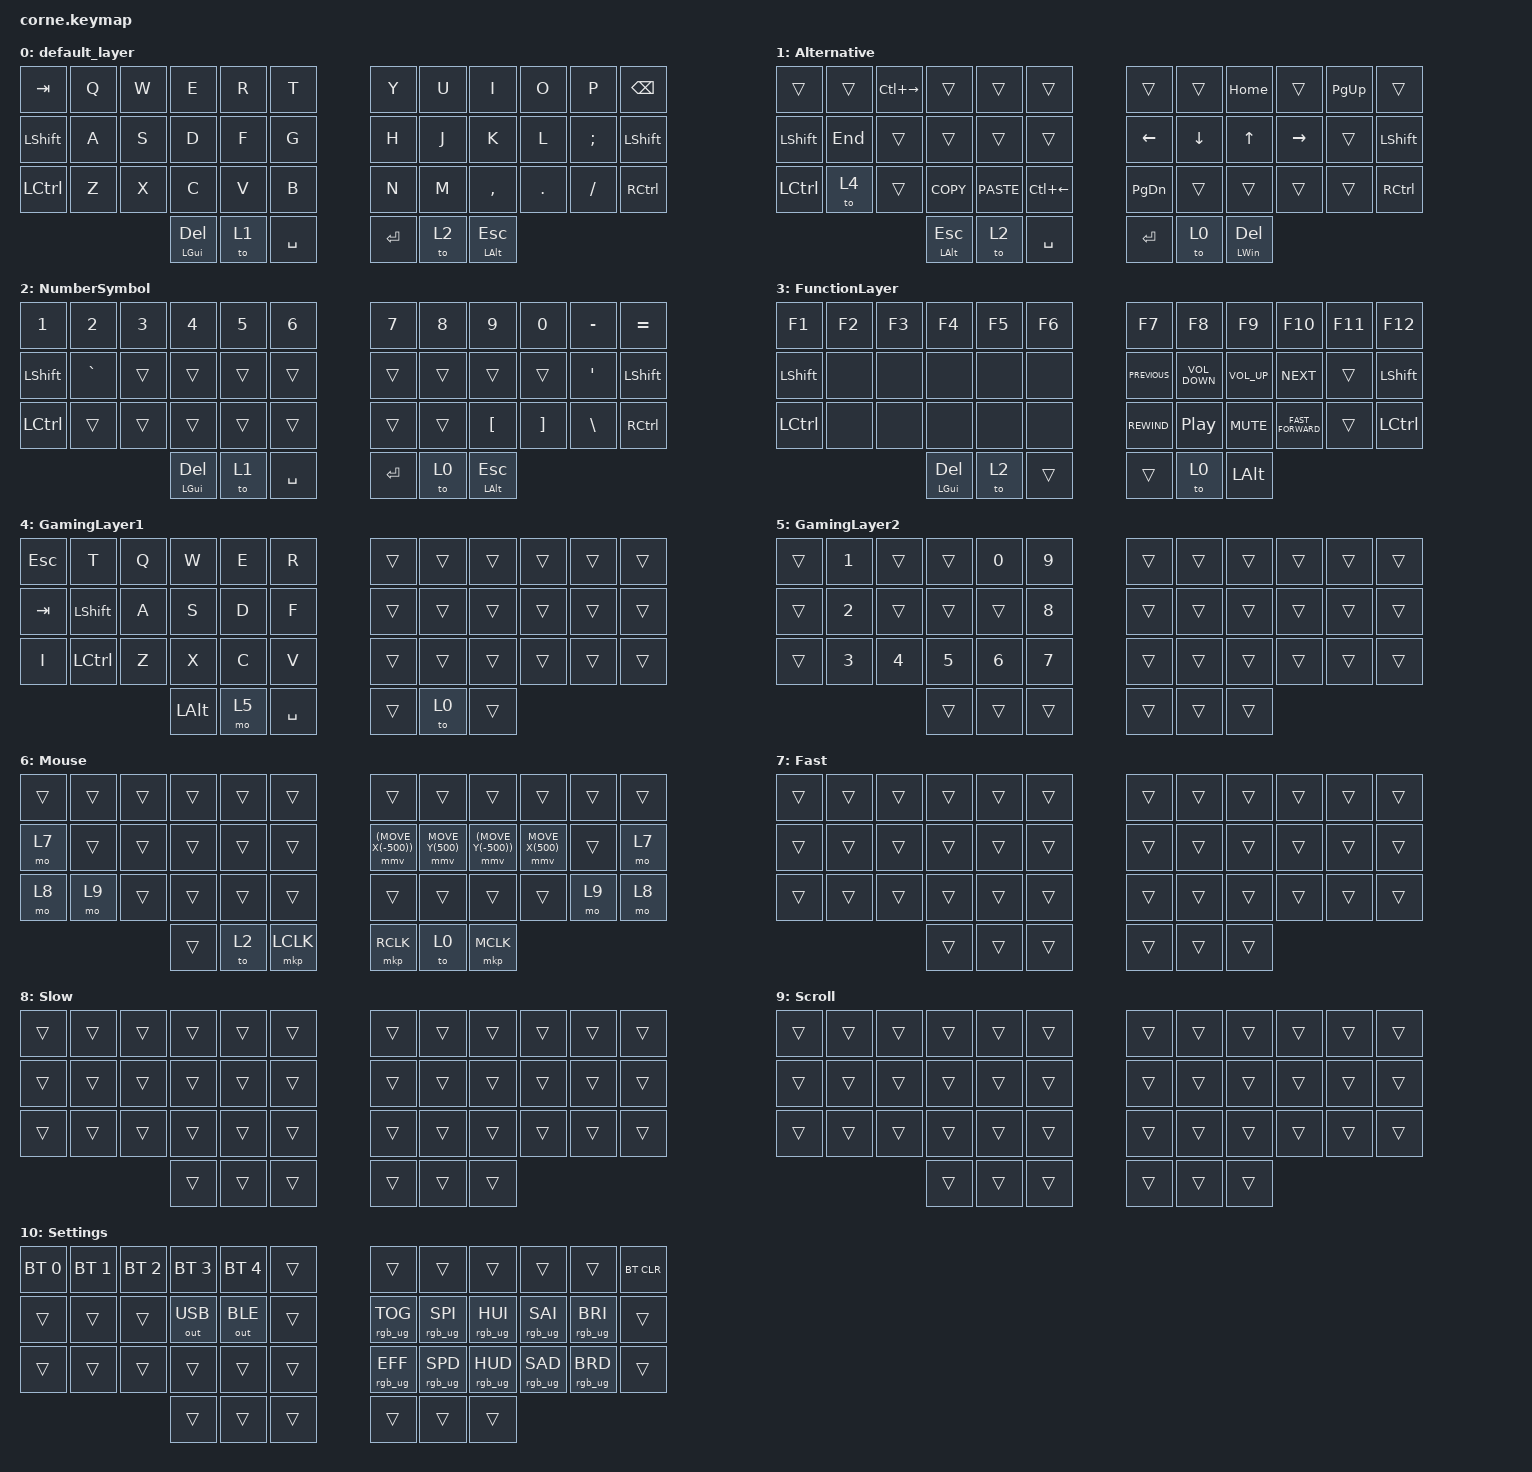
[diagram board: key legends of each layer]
/*
 * Copyright (c) 2020 The ZMK Contributors
 *
 * SPDX-License-Identifier: MIT
 */
// for mouse 

#include <behaviors/mouse_keys.dtsi>
#include <dt-bindings/zmk/mouse.h>
#include "mouse.dtsi"

// for input scalar

#include <input/processors.dtsi>
#include <zephyr/dt-bindings/input/input-event-codes.h>
#include <dt-bindings/zmk/input_transform.h>
#include <behaviors.dtsi>
#include <dt-bindings/zmk/bt.h>
#include <dt-bindings/zmk/keys.h>
#include <dt-bindings/zmk/outputs.h>
#include <dt-bindings/zmk/pointing.h>
#include <dt-bindings/zmk/rgb.h>

#define NONE 0

&led_strip { chain-length = <27>; };

&mmv_input_listener {
    fast {
        layers = <7>;
        input-processors = <&zip_xy_scaler 2 1>;
    };

    slow {
        layers = <8>;
        input-processors = <&zip_xy_scaler 1 2>;
    };

    scrollerInvert {
        layers = <9>;
        input-processors = <&zip_xy_transform INPUT_TRANSFORM_Y_INVERT>;
        process-next;
    };

    scroller {
        layers = <9>;
        input-processors = <&zip_xy_to_scroll_mapper>;
    };
};

/ {
    combos {
        compatible = "zmk,combos";

        toFunkKeys {
            bindings = <&to 3>;
            key-positions = <37 40>;
        };

        ToLayer2 {
            bindings = <&to 2>;
            key-positions = <37 12>;
            layers = <0>;
        };

        ToLayer0 {
            bindings = <&to 0>;
            key-positions = <37 12>;
            layers = <1 2>;
        };

        toMouse {
            bindings = <&to 6>;
            key-positions = <39 38>;
        };

        caps {
            bindings = <&caps_word>;
            key-positions = <12 23>;
        };

        ToSettings {
            bindings = <&to 10>;
            key-positions = <36 41>;
        };
    };

    keymap {
        compatible = "zmk,keymap";

        default_layer {
            bindings = <
&kp TAB     &kp Q  &kp W  &kp E            &kp R  &kp T        &kp Y    &kp U  &kp I             &kp O    &kp P          &kp BSPC
&kp LSHIFT  &kp A  &kp S  &kp D            &kp F  &kp G        &kp H    &kp J  &kp K             &kp L    &kp SEMICOLON  &kp LSHIFT
&kp LCTRL   &kp Z  &kp X  &kp C            &kp V  &kp B        &kp N    &kp M  &kp COMMA         &kp DOT  &kp SLASH      &kp RCTRL
                          &mt LGUI DELETE  &to 1  &kp SPACE    &kp RET  &to 2  &mt LEFT_ALT ESC
            >;
        };

        Alternative {
            bindings = <
&trans      &trans   &kp LC(RIGHT)  &trans               &trans       &trans                &trans         &trans    &kp HOME             &trans     &kp PAGE_UP  &trans
&kp LSHIFT  &kp END  &trans         &trans               &trans       &trans                &kp LEFT       &kp DOWN  &kp UP               &kp RIGHT  &trans       &kp LEFT_SHIFT
&kp LCTRL   &to 4    &trans         &kp K_COPY           &kp K_PASTE  &kp LC(LEFT_ARROW)    &kp PAGE_DOWN  &trans    &trans               &trans     &trans       &kp RCTRL
                                    &mt LEFT_ALT ESCAPE  &to 2        &kp SPACE             &kp RET        &to 0     &mt LEFT_WIN DELETE
            >;
        };

        NumberSymbol {
            bindings = <
&kp NUMBER_1  &kp NUMBER_2  &kp N3  &kp N4           &kp N5  &kp N6       &kp N7   &kp N8  &kp N9            &kp N0    &kp MINUS  &kp EQUAL
&kp LSHIFT    &kp GRAVE     &trans  &trans           &trans  &trans       &trans   &trans  &trans            &trans    &kp APOS   &kp LEFT_SHIFT
&kp LCTRL     &trans        &trans  &trans           &trans  &trans       &trans   &trans  &kp LBKT          &kp RBKT  &kp BSLH   &kp RCTRL
                                    &mt LGUI DELETE  &to 1   &kp SPACE    &kp RET  &to 0   &mt LEFT_ALT ESC
            >;
        };

        FunctionLayer {
            bindings = <
&kp F1      &kp F2  &kp F3  &kp F4           &kp F5  &kp F6    &kp F7          &kp F8             &kp F9        &kp F10             &kp F11  &kp F12
&kp LSHIFT  &none   &none   &none            &none   &none     &kp C_PREVIOUS  &kp C_VOLUME_DOWN  &kp C_VOL_UP  &kp C_NEXT          &trans   &kp LEFT_SHIFT
&kp LCTRL   &none   &none   &none            &none   &none     &kp C_REWIND    &kp C_PLAY_PAUSE   &kp K_MUTE    &kp C_FAST_FORWARD  &trans   &kp LCTRL
                            &mt LGUI DELETE  &to 2   &trans    &trans          &to 0              &kp LALT
            >;
        };

        GamingLayer1 {
            bindings = <
&kp ESC  &kp T      &kp Q  &kp W         &kp E  &kp R        &trans  &trans  &trans  &trans  &trans  &trans
&kp TAB  &kp LSHFT  &kp A  &kp S         &kp D  &kp F        &trans  &trans  &trans  &trans  &trans  &trans
&kp I    &kp LCTRL  &kp Z  &kp X         &kp C  &kp V        &trans  &trans  &trans  &trans  &trans  &trans
                           &kp LEFT_ALT  &mo 5  &kp SPACE    &trans  &to 0   &trans
            >;
        };

        GamingLayer2 {
            bindings = <
&trans  &kp N1  &trans  &trans  &kp N0  &kp N9    &trans  &trans  &trans  &trans  &trans  &trans
&trans  &kp N2  &trans  &trans  &trans  &kp N8    &trans  &trans  &trans  &trans  &trans  &trans
&trans  &kp N3  &kp N4  &kp N5  &kp N6  &kp N7    &trans  &trans  &trans  &trans  &trans  &trans
                        &trans  &trans  &trans    &trans  &trans  &trans
            >;
        };

        Mouse {
            bindings = <
&trans  &trans  &trans  &trans  &trans  &trans       &trans               &trans            &trans               &trans            &trans  &trans
&mo 7   &trans  &trans  &trans  &trans  &trans       &mmv (MOVE_X(-500))  &mmv MOVE_Y(500)  &mmv (MOVE_Y(-500))  &mmv MOVE_X(500)  &trans  &mo 7
&mo 8   &mo 9   &trans  &trans  &trans  &trans       &trans               &trans            &trans               &trans            &mo 9   &mo 8
                        &trans  &to 2   &mkp LCLK    &mkp RCLK            &to 0             &mkp MCLK
            >;
        };

        Fast {
            bindings = <
&trans  &trans  &trans  &trans  &trans  &trans    &trans  &trans  &trans  &trans  &trans  &trans
&trans  &trans  &trans  &trans  &trans  &trans    &trans  &trans  &trans  &trans  &trans  &trans
&trans  &trans  &trans  &trans  &trans  &trans    &trans  &trans  &trans  &trans  &trans  &trans
                        &trans  &trans  &trans    &trans  &trans  &trans
            >;
        };

        Slow {
            bindings = <
&trans  &trans  &trans  &trans  &trans  &trans    &trans  &trans  &trans  &trans  &trans  &trans
&trans  &trans  &trans  &trans  &trans  &trans    &trans  &trans  &trans  &trans  &trans  &trans
&trans  &trans  &trans  &trans  &trans  &trans    &trans  &trans  &trans  &trans  &trans  &trans
                        &trans  &trans  &trans    &trans  &trans  &trans
            >;
        };

        Scroll {
            bindings = <
&trans  &trans  &trans  &trans  &trans  &trans    &trans  &trans  &trans  &trans  &trans  &trans
&trans  &trans  &trans  &trans  &trans  &trans    &trans  &trans  &trans  &trans  &trans  &trans
&trans  &trans  &trans  &trans  &trans  &trans    &trans  &trans  &trans  &trans  &trans  &trans
                        &trans  &trans  &trans    &trans  &trans  &trans
            >;
        };

        Settings {
            bindings = <
&bt BT_SEL 0  &bt BT_SEL 1  &bt BT_SEL 2  &bt BT_SEL 3  &bt BT_SEL 4  &trans    &trans           &trans           &trans           &trans           &trans           &bt BT_CLR
&trans        &trans        &trans        &out OUT_USB  &out OUT_BLE  &trans    &rgb_ug RGB_TOG  &rgb_ug RGB_SPI  &rgb_ug RGB_HUI  &rgb_ug RGB_SAI  &rgb_ug RGB_BRI  &trans
&trans        &trans        &trans        &trans        &trans        &trans    &rgb_ug RGB_EFF  &rgb_ug RGB_SPD  &rgb_ug RGB_HUD  &rgb_ug RGB_SAD  &rgb_ug RGB_BRD  &trans
                                          &trans        &trans        &trans    &trans           &trans           &trans
            >;
        };
    };
};
